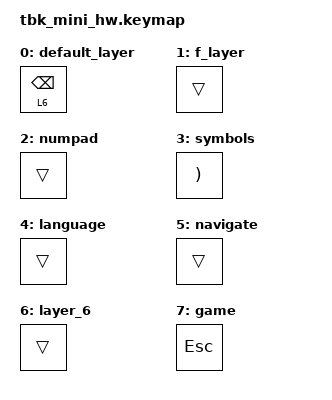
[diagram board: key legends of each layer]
#include <behaviors.dtsi>
#include <dt-bindings/zmk/keys.h>

/ {
    behaviors {
        mt: mod_tap {
            compatible = "zmk,behavior-hold-tap";
            label = "MOD_TAP";
            #binding-cells = <2>;
            flavor = "tap-preferred";
            tapping-term-ms = <250>;
            quick-tap-ms = <150>;
            require-prior-idle-ms = <125>;
            bindings = <&kp>, <&kp>;
        };

        lt: layer_tap {
            compatible = "zmk,behavior-hold-tap";
            label = "LAYER_TAP";
            #binding-cells = <2>;
            flavor = "tap-preferred";
            tapping-term-ms = <200>;
            quick-tap-ms = <150>;
            bindings = <&mo>, <&kp>;
        };
    };

    combos {
        compatible = "zmk,combos";

        bootloader {
            bindings = <&bootloader>;
            key-positions = <0 5>;
        };

        bootloader2 {
            bindings = <&bootloader>;
            key-positions = <6 11>;
        };
    };

    keymap {
        compatible = "zmk,keymap";

        default_layer {
            bindings = <
&kp ESC    &kp Q           &kp W       &kp E        &kp R        &kp T      &kp Y      &kp U        &kp I            &kp O            &kp P          &kp BSPC
&kp LSHFT  &mt LEFT_GUI A  &mt LALT S  &mt LCTRL D  &mt LSHFT F  &kp G      &kp H      &mt RSHFT J  &mt RCTRL K      &mt RIGHT_ALT L  &mt RGUI SEMI  &kp SINGLE_QUOTE
&kp LCTRL  &kp Z           &kp X       &kp C        &kp V        &kp B      &kp N      &kp M        &kp COMMA        &kp DOT          &kp FSLH       &tog 7
                                       &lt 1 SPACE  &lt 2 SPACE  &lt 3 TAB  &lt 4 DEL  &lt 5 ENTER  &lt 6 BACKSPACE
            >;
        };

        f_layer {
            bindings = <
&kp LG(LS(S))  &kp F1  &kp F2   &kp F3   &kp F4   &trans        &kp LG(LS(S))  &kp F1  &kp F2   &kp F3   &kp F4   &trans
&trans         &kp F5  &kp F6   &kp F7   &kp F8   &kp PAGE_UP   &trans         &kp F5  &kp F6   &kp F7   &kp F8   &trans
&trans         &kp F9  &kp F10  &kp F11  &kp F12  &kp LEFT_ALT  &trans         &kp F9  &kp F10  &kp F11  &kp F12  &trans
                                &trans   &trans   &trans        &trans         &trans  &trans
            >;
        };

        numpad {
            bindings = <
&trans  &trans  &trans  &trans  &trans  &trans  &kp KP_SUBTRACT  &kp KP_NUMBER_7  &kp KP_NUMBER_8  &kp KP_NUMBER_9  &kp KP_MULTIPLY  &trans
&trans  &trans  &trans  &trans  &trans  &trans  &kp KP_PLUS      &kp KP_NUMBER_4  &kp KP_NUMBER_5  &kp KP_NUMBER_6  &kp KP_DIVIDE    &trans
&trans  &trans  &trans  &trans  &trans  &trans  &kp KP_NUMBER_0  &kp KP_NUMBER_1  &kp KP_NUMBER_2  &kp KP_NUMBER_3  &kp KP_DOT       &trans
                        &trans  &trans  &trans  &trans           &trans           &trans
            >;
        };

        symbols {
            bindings = <
&trans  &trans  &trans  &trans  &trans  &trans  &kp LBRC       &kp RBRC              &kp LA(AMPERSAND)      &kp KP_ASTERISK  &kp LBKT   &kp RBKT
&trans  &trans  &trans  &trans  &trans  &trans  &kp LA(EQUAL)  &kp LA(DOLLAR)        &kp LA(PERCENT)        &kp LA(CARET)    &kp COLON  &trans
&trans  &trans  &trans  &trans  &trans  &trans  &kp PIPE       &kp LA(EXCLAMATION)   &kp LA(AT_SIGN)        &kp LA(POUND)    &kp GRAVE  &trans
                        &trans  &trans  &trans  &kp MINUS      &kp LEFT_PARENTHESIS  &kp RIGHT_PARENTHESIS
            >;
        };

        language {
            bindings = <
&trans  &kp NUMBER_1  &kp NUMBER_2  &kp NUMBER_3  &kp NUMBER_4  &kp NUMBER_5  &kp NUMBER_6  &kp N7  &kp N8  &kp EQUAL  &trans  &trans
&trans  &trans        &trans        &trans        &trans        &trans        &trans        &trans  &trans  &trans     &trans  &trans
&trans  &kp LC(Z)     &kp LC(X)     &kp LC(C)     &kp LC(V)     &kp LC(Y)     &trans        &trans  &trans  &trans     &trans  &trans
                                    &trans        &trans        &trans        &trans        &trans  &trans
            >;
        };

        navigate {
            bindings = <
&trans  &kp PAGE_UP    &kp HOME   &kp UP     &kp END    &kp INSERT  &trans  &trans  &trans  &trans  &trans  &trans
&trans  &kp PAGE_DOWN  &kp LEFT   &kp DOWN   &kp RIGHT  &kp CAPS    &trans  &trans  &trans  &trans  &trans  &trans
&trans  &kp LC(Z)      &kp LC(X)  &kp LC(C)  &kp LC(V)  &kp LC(Y)   &trans  &trans  &trans  &trans  &trans  &trans
                                  &trans     &trans     &trans      &trans  &trans  &trans
            >;
        };

        layer_6 {
            bindings = <
&trans  &trans  &trans  &trans  &trans  &trans  &trans  &trans  &trans  &trans  &trans  &trans
&trans  &trans  &trans  &trans  &trans  &trans  &trans  &trans  &trans  &trans  &trans  &trans
&trans  &trans  &trans  &trans  &trans  &trans  &trans  &trans  &trans  &trans  &trans  &trans
                        &trans  &trans  &trans  &trans  &trans  &trans
            >;
        };

        game {
            bindings = <
&kp ESC         &kp Q  &kp W  &kp E    &kp R          &kp T      &kp Y    &kp U      &kp I       &kp O       &kp P   &trans
&kp LEFT_SHIFT  &kp A  &kp S  &kp D    &kp F          &kp G      &kp H    &kp J      &kp K       &kp L       &trans  &trans
&kp LCTRL       &kp Z  &kp X  &kp C    &kp V          &kp B      &kp N    &kp M      &kp COMMA   &kp PERIOD  &trans  &trans
                              &kp DEL  &kp BACKSPACE  &kp SPACE  &kp TAB  &kp ENTER  &kp ESCAPE
            >;
        };
    };
};
